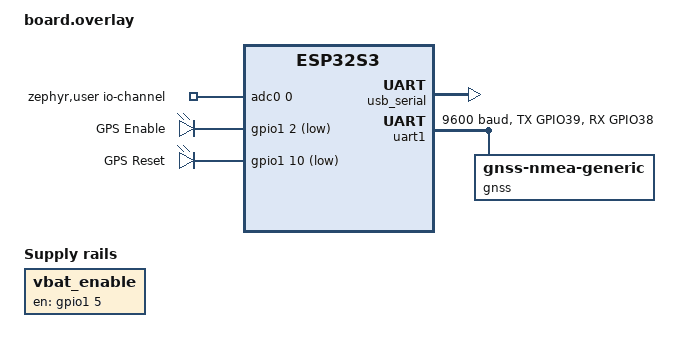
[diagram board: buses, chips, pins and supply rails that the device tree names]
/*
 * SPDX-License-Identifier: MIT
 * Heltec WiFi LoRa 32 V4.3 — ZephCore overlay
 *
 * The DTS already defines: SX1262 (lora0), SSD1306 OLED, button, LED, PWM,
 * vext_enable, fem_power, I2C0, SPI2, BLE, WiFi.
 * This overlay adds ZephCore-specific integration on top.
 *
 * LoRa SPI2:  SCLK=9, MOSI=10, MISO=11, NSS=8
 * LoRa ctrl:  DIO1=14, BUSY=13, RESET=12
 * FEM:        POWER=7, KCT8103L CSD=2, CTX=5
 * Display I2C0: SDA=17, SCL=18, RST=21
 * Battery ADC: GPIO1 = ADC1_CH0 (&adc0), enable GPIO37 active-HIGH, divider 100K/390K
 * Vext:       GPIO36 (active-HIGH, powers OLED)
 * Button:     GPIO0
 * LED:        GPIO35
 * GPS UART1:  TX=GPIO39, RX=GPIO38, 9600 baud (optional external module)
 * GPS ctrl:   enable GPIO34 (active-LOW), reset GPIO42 (active-LOW)
 */

#include <zephyr/dt-bindings/input/input-event-codes.h>

/ {
	chosen {
		/* Native USB serial for ZephCore console/CLI */
		zephyr,console = &usb_serial;
		zephyr,shell-uart = &usb_serial;
	};

	/* Battery ADC — ZephCore reads via zephyr,user { io-channels }.
	 * GPIO1 = ADC unit 1 = node &adc0 (label is 0-indexed, unit is 1-indexed);
	 * the old &adc1 was unit 2 = GPIO11 = SX1262 MISO — always read 0.
	 * Multiplier: Vref_internal(1100) * divider_ratio(5.2) = 5720 on the
	 * 100K/390K divider (was 17886, which assumed a 3300mV full-scale that
	 * ADC_REF_INTERNAL does not provide). Channel config is in the DTS. */
	zephyr,user {
		io-channels = <&adc0 0>;
		vbat-mv-multiplier = <5720>;
	};

	/* Battery ADC enable — ZephCore uses vbat_enable regulator alias.
	 * GPIO37 (gpio1 pin 5) driven HIGH enables the ADC input path. ZephyrBoard
	 * toggles this per read (enable, sample, disable), so the divider draws
	 * nothing between reads. The DTS no longer defines an adc_ctrl power-domain
	 * on the same GPIO37, so this regulator is the sole owner. */
	vbat_enable: vbat-enable {
		compatible = "regulator-fixed";
		regulator-name = "vbat-enable";
		enable-gpios = <&gpio1 5 GPIO_ACTIVE_HIGH>;  /* GPIO37 = gpio1 pin 5, HIGH enables (V4/V4.3) */
	};

	/* GPS enable — GPIO34, active-LOW (Arduino MeshCore heltec_v4:
	 * PIN_GPS_EN=34, PIN_GPS_EN_ACTIVE=LOW).  ZephCore's GPS manager drives
	 * this via the gps-enable alias.
	 *
	 * GPIO33-37 are the octal-PSRAM pads on ESP32-S3 modules that carry one;
	 * the V4 has 2 MB *quad* PSRAM, so 33/34 are free here — 35/36/37 are
	 * already spent on LED/Vext/ADC-ctrl above, which is the same evidence. */
	gps_en: gps-enable {
		compatible = "gpio-leds";
		gps_enable_pin: gps_enable {
			gpios = <&gpio1 2 GPIO_ACTIVE_LOW>;   /* GPIO34 = gpio1 pin 2 */
			label = "GPS Enable";
		};
	};

	/* GPS reset — GPIO42, active-LOW (Arduino PIN_GPS_RESET=42,
	 * PIN_GPS_RESET_ACTIVE=LOW).  Declared so the line is always driven to a
	 * defined level rather than left floating into the module's reset input.
	 *
	 * Declaring gps-reset moves this board onto the manager's
	 * HAS_T1000_GPS_CONTROL power sequence (EN -> reset -> release).  That is
	 * safe without a VRTC pin — every VRTC/SLEEP step in that path is behind
	 * its own #if.  That sequence now drives every line logically, so the
	 * power-ON pulse asserts on this active-LOW reset instead of de-asserting
	 * it; before that fix the pulse was a no-op here and only the power-OFF
	 * half, which asserts reset and holds the module down while its supply is
	 * gated, did anything. */
	gps_rst: gps-reset {
		compatible = "gpio-leds";
		gps_reset_pin: gps_reset {
			gpios = <&gpio1 10 GPIO_ACTIVE_LOW>;  /* GPIO42 = gpio1 pin 10 */
			label = "GPS Reset";
		};
	};

	aliases {
		gps-enable = &gps_enable_pin;
		gps-reset = &gps_reset_pin;
	};

	/* Button chain — same mapping as RAK4631 / WisMesh Pocket (rak4631/board.overlay). */
	user_btn_longpress {
		compatible = "zephyr,input-longpress";
		input = <&buttons>;
		input-codes = <INPUT_KEY_0>;
		short-codes = <INPUT_KEY_A>;
		long-codes = <INPUT_KEY_ENTER>;
		long-delay-ms = <1000>;
	};

	page_btn_multitap {
		compatible = "zephcore,input-multi-tap";
		input-codes = <INPUT_KEY_A>;
		tap-codes = <INPUT_KEY_1 INPUT_KEY_LEFT>;
		tap-delay-ms = <400>;
	};
};

/* Enable native USB serial for console/CLI */
&usb_serial {
	status = "okay";
};

/* Patch LoRa radio: add pull-down on DIO1 and enable RX boosted mode.
 * DTS defines antenna-enable, tx-enable, dio2-tx-enable, and TCXO already. */
&lora0 {
	dio1-gpios = <&gpio0 14 (GPIO_PULL_DOWN | GPIO_ACTIVE_HIGH)>;
	rx-boosted;
};

/* GPS on UART1 — optional external NMEA module on the pin header, wired to the
 * same pins Arduino MeshCore uses for this board (PIN_GPS_RX=38, PIN_GPS_TX=39;
 * Arduino names them from the MCU's point of view, so RX=38 is the MCU input).
 * Upstream leaves uart1 disabled and gives it no pinctrl, so both are set here.
 * GPIO38/39 are otherwise unclaimed on the V4; the console stays on usb_serial
 * (or uart0/GPIO43-44 for companion USB builds).  9600 baud matches Arduino's
 * default for this variant.
 *
 * The node is unconditional, like the V3's gnss node for its optional module:
 * with nothing fitted the driver simply never sees a fix. */
&pinctrl {
	uart1_default: uart1_default {
		group1 {
			pinmux = <UART1_TX_GPIO39>;
			output-high;
		};

		group2 {
			pinmux = <UART1_RX_GPIO38>;
			bias-pull-up;
		};
	};
};

&uart1 {
	status = "okay";
	current-speed = <9600>;
	pinctrl-0 = <&uart1_default>;
	pinctrl-names = "default";

	gnss: gnss-nmea-generic {
		compatible = "gnss-nmea-generic";
	};
};

/* I2C sensors — auto-detected at runtime */
&i2c0 {
	#include "../../common/sensors-i2c.dtsi"
};

/*
 * Flash partitions live in partitions.overlay (this dir) so the identical map
 * is fed to both the app and the MCUboot image — see that file and
 * sysbuild/CMakeLists.txt.
 */

/* LittleFS auto-mount — standard /lfs mount point */
#include "../../common/filesystem.dtsi"
/* USB CDC-ACM — companion USB transport, auto-enabled for companion builds via
 * boards/common/esp32s3_usb.conf (see the auto-include block in CMakeLists.txt).
 * The chosen console above is usb_serial, i.e. the same D+/D- pins, so the conf's
 * paired overlay moves the console to uart0/GPIO43-44 for those builds. */
#include "../../common/esp32s3_usb_otg.dtsi"
